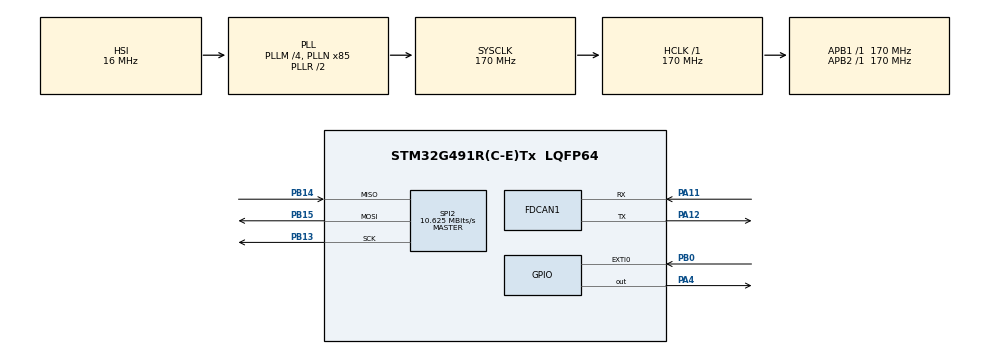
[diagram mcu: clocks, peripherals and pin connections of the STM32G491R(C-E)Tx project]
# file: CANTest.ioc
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FDCAN1.AutoRetransmission=ENABLE
FDCAN1.CalculateBaudRateNominal=500000
FDCAN1.CalculateTimeBitNominal=2000
FDCAN1.CalculateTimeQuantumNominal=100.0
FDCAN1.NominalPrescaler=17
FDCAN1.NominalTimeSeg1=15
FDCAN1.NominalTimeSeg2=4
FDCAN1.StdFiltersNbr=1
Mcu.Family=STM32G4
Mcu.Name=STM32G491R(C-E)Tx
Mcu.Package=LQFP64
NUCLEO-G491RE.BUTTON=1
NUCLEO-G491RE.LD2=true
NUCLEO-G491RE.VCP=true
NVIC.EXTI15_10_IRQn=true\:0\:0\:false\:false\:true\:false\:true\:true
NVIC.FDCAN1_IT0_IRQn=true\:0\:0\:false\:false\:true\:true\:true\:true
NVIC.FDCAN1_IT1_IRQn=true\:0\:0\:false\:false\:true\:true\:true\:true
NVIC.PriorityGroup=NVIC_PRIORITYGROUP_4
NVIC.SPI2_IRQn=true\:0\:0\:false\:false\:true\:true\:true\:true
PA11.Mode=FDCAN_Activate
PA11.Signal=FDCAN1_RX
PA12.Mode=FDCAN_Activate
PA12.Signal=FDCAN1_TX
PA13.GPIO_Label=T_SWDIO
PA13.Mode=Serial_Wire
PA13.Signal=SYS_JTMS-SWDIO
PA14.GPIO_Label=T_SWCLK
PA14.Mode=Serial_Wire
PA14.Signal=SYS_JTCK-SWCLK
PA2.Signal=LPUART1_TX
PA3.Signal=LPUART1_RX
PA4.GPIO_Speed=GPIO_SPEED_FREQ_VERY_HIGH
PA4.PinState=GPIO_PIN_SET
PA4.Signal=GPIO_Output
PB0.GPIO_PuPd=GPIO_PULLUP
PB0.Signal=GPXTI0
PB13.Mode=Full_Duplex_Master
PB13.Signal=SPI2_SCK
PB14.Mode=Full_Duplex_Master
PB14.Signal=SPI2_MISO
PB15.Mode=Full_Duplex_Master
PB15.Signal=SPI2_MOSI
PB3.GPIO_Label=T_SWO
PB3.Signal=SYS_JTDO-SWO
PC14-OSC32_IN.GPIO_Label=RCC_OSC32_IN
PC14-OSC32_IN.Signal=RCC_OSC32_IN
PC15-OSC32_OUT.GPIO_Label=RCC_OSC32_OUT
PC15-OSC32_OUT.Signal=RCC_OSC32_OUT
PF0-OSC_IN.GPIO_Label=RCC_OSC_IN
PF0-OSC_IN.Mode=HSE-External-Oscillator
PF0-OSC_IN.Signal=RCC_OSC_IN
PF1-OSC_OUT.GPIO_Label=RCC_OSC_OUT
PF1-OSC_OUT.Mode=HSE-External-Oscillator
PF1-OSC_OUT.Signal=RCC_OSC_OUT
ProjectManager.HeapSize=0x200
ProjectManager.StackSize=0x400
ProjectManager.TargetToolchain=STM32CubeIDE
RCC.ADC12Freq_Value=170000000
RCC.ADC345Freq_Value=170000000
RCC.AHBFreq_Value=170000000
RCC.APB1Freq_Value=170000000
RCC.APB1TimFreq_Value=170000000
RCC.APB2Freq_Value=170000000
RCC.APB2TimFreq_Value=170000000
RCC.CortexFreq_Value=170000000
RCC.EXTERNAL_CLOCK_VALUE=12288000
RCC.HCLKFreq_Value=170000000
RCC.HSE_VALUE=24000000
RCC.HSI48_VALUE=48000000
RCC.HSI_VALUE=16000000
RCC.LSE_VALUE=32768
RCC.PLLM=RCC_PLLM_DIV4
RCC.PLLN=85
RCC.RTCClockSelection=RCC_RTCCLKSOURCE_LSE
RCC.SYSCLKFreq_VALUE=170000000
RCC.SYSCLKSource=RCC_SYSCLKSOURCE_PLLCLK
RCC.USBFreq_Value=48000000
RCC.VCOOutputFreq_Value=340000000
SPI2.BaudRatePrescaler=SPI_BAUDRATEPRESCALER_16
SPI2.CalculateBaudRate=10.625 MBits/s
SPI2.DataSize=SPI_DATASIZE_8BIT
SPI2.Direction=SPI_DIRECTION_2LINES
SPI2.Mode=SPI_MODE_MASTER
SPI2.VirtualType=VM_MASTER
VP_NUCLEO-G491RE_VS_BSP_COMMON.Mode=COMMON
VP_SYS_VS_DBSignals.Mode=DisableDeadBatterySignals
board=NUCLEO-G491RE

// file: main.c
/* USER CODE BEGIN Header */
/**
  ******************************************************************************
  * @file           : main.c
  * @brief          : Main program body
  ******************************************************************************
  * @attention
  *
  * Copyright (c) 2026 STMicroelectronics.
  * All rights reserved.
  *
  * This software is licensed under terms that can be found in the LICENSE file
  * in the root directory of this software component.
  * If no LICENSE file comes with this software, it is provided AS-IS.
  *
  ******************************************************************************
  */
/* USER CODE END Header */
#include "main.h"

/* USER CODE BEGIN Includes */
#include "fdcan.h"
#include "spican.h"

/* USER CODE END Includes */

COM_InitTypeDef BspCOMInit;
FDCAN_HandleTypeDef hfdcan1;

SPI_HandleTypeDef hspi2;

void SystemClock_Config(void);
static void MX_GPIO_Init(void);
static void MX_FDCAN1_Init(void);
static void MX_SPI2_Init(void);

int main(void)
{

  /* MCU Configuration--------------------------------------------------------*/

  /* Reset of all peripherals, Initializes the Flash interface and the Systick. */
  HAL_Init();

  /* Configure the system clock */
  SystemClock_Config();

  /* Initialize all configured peripherals */
  MX_GPIO_Init();
  MX_FDCAN1_Init();
  MX_SPI2_Init();
  /* USER CODE BEGIN 2 */
  FDCAN_AppInit();
  MCP2515_Init();

  uint8_t txData[8] =
  {
      0x11,
      0x22,
      0x33,
      0x44,
      0x55,
      0x66,
      0x77,
      0x88
  };

  uint8_t spiRxData[8];
  uint8_t spiRxLen;
  uint16_t spiRxId;

  /* USER CODE END 2 */

  /* Initialize led */
  BSP_LED_Init(LED_GREEN);

  /* Initialize USER push-button, will be used to trigger an interrupt each time it's pressed.*/
  BSP_PB_Init(BUTTON_USER, BUTTON_MODE_EXTI);

  /* Initialize COM1 port (115200, 8 bits (7-bit data + 1 stop bit), no parity */
  BspCOMInit.BaudRate   = 115200;
  BspCOMInit.WordLength = COM_WORDLENGTH_8B;
  BspCOMInit.StopBits   = COM_STOPBITS_1;
  BspCOMInit.Parity     = COM_PARITY_NONE;
  BspCOMInit.HwFlowCtl  = COM_HWCONTROL_NONE;
  if (BSP_COM_Init(COM1, &BspCOMInit) != BSP_ERROR_NONE)
  {
    Error_Handler();
  }

  /* Infinite loop */
  /* USER CODE BEGIN WHILE */
  while (1)
  {
	  /* Send via STM32 FDCAN */
	      FDCAN_Send(
	          0x123,
	          txData,
	          8);

	      /* Send via MCP2515 SPI CAN */
	      MCP2515_Send(
	          0x123,
	          txData,
	          8);

	      /* Check FDCAN receive */
	      if(FDCAN_RxId != 0)
	      {
	          BSP_LED_Toggle(LED_GREEN);

	          printf("FDCAN RX ID: 0x%03lX\r\n",
	                 FDCAN_RxId);

	          FDCAN_RxId = 0;
	      }

	      /* Check MCP2515 receive */
	      if(MCP2515_Receive(
	              &spiRxId,
	              spiRxData,
	              &spiRxLen) == HAL_OK)
	      {
	          BSP_LED_Toggle(LED_GREEN);

	          printf("SPI CAN RX ID: 0x%03X\r\n",
	                 spiRxId);
	      }

	      HAL_Delay(1000);

    /* USER CODE END WHILE */

  }
}

void SystemClock_Config(void)
{
  RCC_OscInitTypeDef RCC_OscInitStruct = {0};
  RCC_ClkInitTypeDef RCC_ClkInitStruct = {0};

  /** Configure the main internal regulator output voltage
  */
  HAL_PWREx_ControlVoltageScaling(PWR_REGULATOR_VOLTAGE_SCALE1_BOOST);

  /** Initializes the RCC Oscillators according to the specified parameters
  * in the RCC_OscInitTypeDef structure.
  */
  RCC_OscInitStruct.OscillatorType = RCC_OSCILLATORTYPE_HSI;
  RCC_OscInitStruct.HSIState = RCC_HSI_ON;
  RCC_OscInitStruct.HSICalibrationValue = RCC_HSICALIBRATION_DEFAULT;
  RCC_OscInitStruct.PLL.PLLState = RCC_PLL_ON;
  RCC_OscInitStruct.PLL.PLLSource = RCC_PLLSOURCE_HSI;
  RCC_OscInitStruct.PLL.PLLM = RCC_PLLM_DIV4;
  RCC_OscInitStruct.PLL.PLLN = 85;
  RCC_OscInitStruct.PLL.PLLP = RCC_PLLP_DIV2;
  RCC_OscInitStruct.PLL.PLLQ = RCC_PLLQ_DIV2;
  RCC_OscInitStruct.PLL.PLLR = RCC_PLLR_DIV2;
  if (HAL_RCC_OscConfig(&RCC_OscInitStruct) != HAL_OK)
  {
    Error_Handler();
  }

  /** Initializes the CPU, AHB and APB buses clocks
  */
  RCC_ClkInitStruct.ClockType = RCC_CLOCKTYPE_HCLK|RCC_CLOCKTYPE_SYSCLK
                              |RCC_CLOCKTYPE_PCLK1|RCC_CLOCKTYPE_PCLK2;
  RCC_ClkInitStruct.SYSCLKSource = RCC_SYSCLKSOURCE_PLLCLK;
  RCC_ClkInitStruct.AHBCLKDivider = RCC_SYSCLK_DIV1;
  RCC_ClkInitStruct.APB1CLKDivider = RCC_HCLK_DIV1;
  RCC_ClkInitStruct.APB2CLKDivider = RCC_HCLK_DIV1;

  if (HAL_RCC_ClockConfig(&RCC_ClkInitStruct, FLASH_LATENCY_4) != HAL_OK)
  {
    Error_Handler();
  }
}

static void MX_FDCAN1_Init(void)
{

  hfdcan1.Instance = FDCAN1;
  hfdcan1.Init.ClockDivider = FDCAN_CLOCK_DIV1;
  hfdcan1.Init.FrameFormat = FDCAN_FRAME_CLASSIC;
  hfdcan1.Init.Mode = FDCAN_MODE_NORMAL;
  hfdcan1.Init.AutoRetransmission = ENABLE;
  hfdcan1.Init.TransmitPause = DISABLE;
  hfdcan1.Init.ProtocolException = DISABLE;
  hfdcan1.Init.NominalPrescaler = 17;
  hfdcan1.Init.NominalSyncJumpWidth = 1;
  hfdcan1.Init.NominalTimeSeg1 = 15;
  hfdcan1.Init.NominalTimeSeg2 = 4;
  hfdcan1.Init.DataPrescaler = 1;
  hfdcan1.Init.DataSyncJumpWidth = 1;
  hfdcan1.Init.DataTimeSeg1 = 1;
  hfdcan1.Init.DataTimeSeg2 = 1;
  hfdcan1.Init.StdFiltersNbr = 1;
  hfdcan1.Init.ExtFiltersNbr = 0;
  hfdcan1.Init.TxFifoQueueMode = FDCAN_TX_FIFO_OPERATION;
  if (HAL_FDCAN_Init(&hfdcan1) != HAL_OK)
  {
    Error_Handler();
  }

}

static void MX_SPI2_Init(void)
{

  /* SPI2 parameter configuration*/
  hspi2.Instance = SPI2;
  hspi2.Init.Mode = SPI_MODE_MASTER;
  hspi2.Init.Direction = SPI_DIRECTION_2LINES;
  hspi2.Init.DataSize = SPI_DATASIZE_8BIT;
  hspi2.Init.CLKPolarity = SPI_POLARITY_LOW;
  hspi2.Init.CLKPhase = SPI_PHASE_1EDGE;
  hspi2.Init.NSS = SPI_NSS_SOFT;
  hspi2.Init.BaudRatePrescaler = SPI_BAUDRATEPRESCALER_16;
  hspi2.Init.FirstBit = SPI_FIRSTBIT_MSB;
  hspi2.Init.TIMode = SPI_TIMODE_DISABLE;
  hspi2.Init.CRCCalculation = SPI_CRCCALCULATION_DISABLE;
  hspi2.Init.CRCPolynomial = 7;
  hspi2.Init.CRCLength = SPI_CRC_LENGTH_DATASIZE;
  hspi2.Init.NSSPMode = SPI_NSS_PULSE_ENABLE;
  if (HAL_SPI_Init(&hspi2) != HAL_OK)
  {
    Error_Handler();
  }

}

static void MX_GPIO_Init(void)
{
  GPIO_InitTypeDef GPIO_InitStruct = {0};

  /* GPIO Ports Clock Enable */
  __HAL_RCC_GPIOC_CLK_ENABLE();
  __HAL_RCC_GPIOF_CLK_ENABLE();
  __HAL_RCC_GPIOA_CLK_ENABLE();
  __HAL_RCC_GPIOB_CLK_ENABLE();

  /*Configure GPIO pin Output Level */
  HAL_GPIO_WritePin(GPIOA, GPIO_PIN_4, GPIO_PIN_SET);

  /*Configure GPIO pin : PA4 */
  GPIO_InitStruct.Pin = GPIO_PIN_4;
  GPIO_InitStruct.Mode = GPIO_MODE_OUTPUT_PP;
  GPIO_InitStruct.Pull = GPIO_NOPULL;
  GPIO_InitStruct.Speed = GPIO_SPEED_FREQ_VERY_HIGH;
  HAL_GPIO_Init(GPIOA, &GPIO_InitStruct);

  /*Configure GPIO pin : PB0 */
  GPIO_InitStruct.Pin = GPIO_PIN_0;
  GPIO_InitStruct.Mode = GPIO_MODE_IT_RISING;
  GPIO_InitStruct.Pull = GPIO_PULLUP;
  HAL_GPIO_Init(GPIOB, &GPIO_InitStruct);

}

void Error_Handler(void)
{
  __disable_irq();
  while (1)
  {
  }
}
